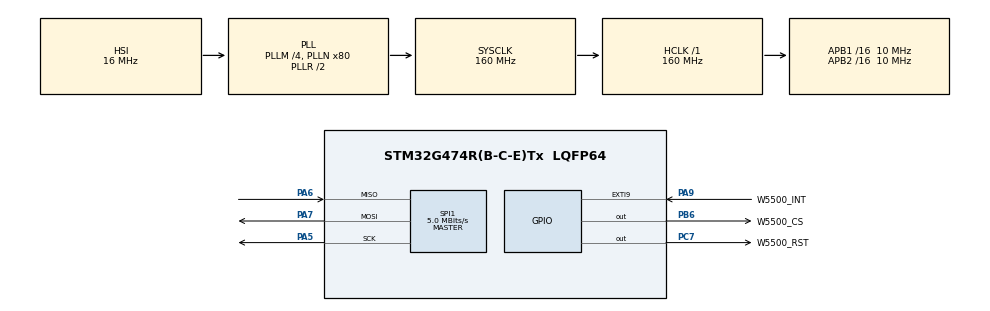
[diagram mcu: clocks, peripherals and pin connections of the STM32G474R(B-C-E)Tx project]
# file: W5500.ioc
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Mcu.Family=STM32G4
Mcu.Name=STM32G474R(B-C-E)Tx
Mcu.Package=LQFP64
NVIC.PriorityGroup=NVIC_PRIORITYGROUP_4
PA13.GPIO_Label=T_SWDIO
PA13.Signal=SYS_JTMS-SWDIO
PA14.GPIO_Label=T_SWCLK
PA14.Signal=SYS_JTCK-SWCLK
PA5.Mode=Full_Duplex_Master
PA5.Signal=SPI1_SCK
PA6.Mode=Full_Duplex_Master
PA6.Signal=SPI1_MISO
PA7.Mode=Full_Duplex_Master
PA7.Signal=SPI1_MOSI
PA9.GPIO_Label=W5500_INT
PA9.Signal=GPXTI9
PB3.GPIO_Label=T_SWO
PB3.Signal=SYS_JTDO-SWO
PB6.GPIO_Label=W5500_CS
PB6.Signal=GPIO_Output
PC14-OSC32_IN.GPIO_Label=RCC_OSC32_IN
PC14-OSC32_IN.Signal=RCC_OSC32_IN
PC15-OSC32_OUT.GPIO_Label=RCC_OSC32_OUT
PC15-OSC32_OUT.Signal=RCC_OSC32_OUT
PC7.GPIO_Label=W5500_RST
PC7.Signal=GPIO_Output
PF0-OSC_IN.GPIO_Label=RCC_OSC_IN
PF0-OSC_IN.Signal=RCC_OSC_IN
PF1-OSC_OUT.GPIO_Label=RCC_OSC_OUT
PF1-OSC_OUT.Signal=RCC_OSC_OUT
ProjectManager.HeapSize=0x200
ProjectManager.StackSize=0x400
ProjectManager.TargetToolchain=STM32CubeIDE
RCC.ADC12Freq_Value=160000000
RCC.ADC345Freq_Value=160000000
RCC.AHBFreq_Value=160000000
RCC.APB1CLKDivider=RCC_HCLK_DIV16
RCC.APB1Freq_Value=10000000
RCC.APB1TimFreq_Value=20000000
RCC.APB2CLKDivider=RCC_HCLK_DIV16
RCC.APB2Freq_Value=10000000
RCC.APB2TimFreq_Value=20000000
RCC.CortexFreq_Value=160000000
RCC.EXTERNAL_CLOCK_VALUE=12288000
RCC.HCLKFreq_Value=160000000
RCC.HSE_VALUE=24000000
RCC.HSI48_VALUE=48000000
RCC.HSI_VALUE=16000000
RCC.LSE_VALUE=32768
RCC.PLLM=RCC_PLLM_DIV4
RCC.PLLN=80
RCC.RTCClockSelection=RCC_RTCCLKSOURCE_LSE
RCC.SYSCLKFreq_VALUE=160000000
RCC.SYSCLKSource=RCC_SYSCLKSOURCE_PLLCLK
RCC.USBFreq_Value=160000000
RCC.VCOOutputFreq_Value=320000000
SPI1.BaudRatePrescaler=SPI_BAUDRATEPRESCALER_2
SPI1.CalculateBaudRate=5.0 MBits/s
SPI1.DataSize=SPI_DATASIZE_8BIT
SPI1.Direction=SPI_DIRECTION_2LINES
SPI1.Mode=SPI_MODE_MASTER
SPI1.VirtualType=VM_MASTER
VP_SYS_VS_DBSignals.Mode=DisableDeadBatterySignals
board=NUCLEO-G474RE

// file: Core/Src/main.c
/* USER CODE BEGIN Header */
/**
  ******************************************************************************
  * @file           : main.c
  * @brief          : Main program body
  ******************************************************************************
  * @attention
  *
  * Copyright (c) 2025 STMicroelectronics.
  * All rights reserved.
  *
  * This software is licensed under terms that can be found in the LICENSE file
  * in the root directory of this software component.
  * If no LICENSE file comes with this software, it is provided AS-IS.
  *
  ******************************************************************************
  */
/* USER CODE END Header */
#include "main.h"

/* USER CODE BEGIN Includes */
#include "nami_protocol.h"
#include <stdio.h>
/* USER CODE END Includes */

SPI_HandleTypeDef hspi1;

/* USER CODE BEGIN PV */
// ======================================================
// === USER CONFIGURATION SECTION FOR NAMI LIBRARY ===
// ======================================================

// --- SECTION A: DEVICE INFORMATION (visible in UDP discovery response) ---
const NaMi_Device_Info g_device_info = {
    .device_id        = "stm32_test_001",
    .type             = "test",
    .version          = "1.0_hw",
    .software_version = "1.0_fw",
    .tcp_port         = 6000
};

// --- SECTION B: NETWORK CONFIGURATION (W5500 static settings) ---
const NaMi_Network_Config g_network_config = {
    .mac = {0x02, 0x08, 0xDC, 0xAA, 0xBB, 0xCC},
    .ip  = {192, 168, 0, 123},
    .subnet_mask = {255, 255, 255, 0},
    .gateway = {192, 168, 0, 1}
};

// --- SECTION C: HARDWARE CONFIGURATION (mapping STM32 pins to W5500) ---
const NaMi_Hardware_Config g_hardware_config = {
    .spi_handle = &hspi1,
    .cs_port    = W5500_CS_GPIO_Port,
    .cs_pin     = W5500_CS_Pin,
    .rst_port   = W5500_RST_GPIO_Port,
    .rst_pin    = W5500_RST_Pin
};

// --- SECTION D: APPLICATION LOGIC (command callback) ---
void handle_device_commands(cJSON *command, char* session_id)
{
    (void)session_id;  // session_id is not used in this minimal version

    cJSON *cmd_item = cJSON_GetObjectItem(command, "cmd");
    if (!cJSON_IsString(cmd_item)) {
    	return;
	}

       const char *cmd = cmd_item->valuestring;

       // ------------------------------------------------------------------------
       // Example how command handling could look in the future:
       //
       // if (strcmp(cmd, "ping") == 0) {
       //	// Example: store a value, update application state, toggle GPIO, etc.
       //     last_ping_timestamp = HAL_GetTick();
       // }
       //
       // if (strcmp(cmd, "led_on") == 0) {
       //     HAL_GPIO_WritePin(LED_GPIO_Port, LED_Pin, GPIO_PIN_SET);
       // }
       //
       // ------------------------------------------------------------------------
}

/* USER CODE END PV */

void SystemClock_Config(void);
static void MX_GPIO_Init(void);
static void MX_SPI1_Init(void);

int main(void)
{

  /* MCU Configuration--------------------------------------------------------*/

  /* Reset of all peripherals, Initializes the Flash interface and the Systick. */
  HAL_Init();

  /* Configure the system clock */
  SystemClock_Config();

  /* Initialize all configured peripherals */
  MX_GPIO_Init();
  MX_SPI1_Init();
  /* USER CODE BEGIN 2 */

  if (NaMi_Init(&g_hardware_config, &g_network_config, &g_device_info, handle_device_commands) != 0)
  {
	  Error_Handler();
  }
  /* USER CODE END 2 */

  /* Infinite loop */
  while (1)
  {

    /* USER CODE BEGIN 3 */
	  NaMi_Process();
  }
  /* USER CODE END 3 */
}

void SystemClock_Config(void)
{
  RCC_OscInitTypeDef RCC_OscInitStruct = {0};
  RCC_ClkInitTypeDef RCC_ClkInitStruct = {0};

  /** Configure the main internal regulator output voltage
  */
  HAL_PWREx_ControlVoltageScaling(PWR_REGULATOR_VOLTAGE_SCALE1_BOOST);

  /** Initializes the RCC Oscillators according to the specified parameters
  * in the RCC_OscInitTypeDef structure.
  */
  RCC_OscInitStruct.OscillatorType = RCC_OSCILLATORTYPE_HSI;
  RCC_OscInitStruct.HSIState = RCC_HSI_ON;
  RCC_OscInitStruct.HSICalibrationValue = RCC_HSICALIBRATION_DEFAULT;
  RCC_OscInitStruct.PLL.PLLState = RCC_PLL_ON;
  RCC_OscInitStruct.PLL.PLLSource = RCC_PLLSOURCE_HSI;
  RCC_OscInitStruct.PLL.PLLM = RCC_PLLM_DIV4;
  RCC_OscInitStruct.PLL.PLLN = 80;
  RCC_OscInitStruct.PLL.PLLP = RCC_PLLP_DIV2;
  RCC_OscInitStruct.PLL.PLLQ = RCC_PLLQ_DIV2;
  RCC_OscInitStruct.PLL.PLLR = RCC_PLLR_DIV2;
  if (HAL_RCC_OscConfig(&RCC_OscInitStruct) != HAL_OK)
  {
    Error_Handler();
  }

  /** Initializes the CPU, AHB and APB buses clocks
  */
  RCC_ClkInitStruct.ClockType = RCC_CLOCKTYPE_HCLK|RCC_CLOCKTYPE_SYSCLK
                              |RCC_CLOCKTYPE_PCLK1|RCC_CLOCKTYPE_PCLK2;
  RCC_ClkInitStruct.SYSCLKSource = RCC_SYSCLKSOURCE_PLLCLK;
  RCC_ClkInitStruct.AHBCLKDivider = RCC_SYSCLK_DIV1;
  RCC_ClkInitStruct.APB1CLKDivider = RCC_HCLK_DIV16;
  RCC_ClkInitStruct.APB2CLKDivider = RCC_HCLK_DIV16;

  if (HAL_RCC_ClockConfig(&RCC_ClkInitStruct, FLASH_LATENCY_4) != HAL_OK)
  {
    Error_Handler();
  }
}

static void MX_SPI1_Init(void)
{

  /* SPI1 parameter configuration*/
  hspi1.Instance = SPI1;
  hspi1.Init.Mode = SPI_MODE_MASTER;
  hspi1.Init.Direction = SPI_DIRECTION_2LINES;
  hspi1.Init.DataSize = SPI_DATASIZE_8BIT;
  hspi1.Init.CLKPolarity = SPI_POLARITY_LOW;
  hspi1.Init.CLKPhase = SPI_PHASE_1EDGE;
  hspi1.Init.NSS = SPI_NSS_SOFT;
  hspi1.Init.BaudRatePrescaler = SPI_BAUDRATEPRESCALER_2;
  hspi1.Init.FirstBit = SPI_FIRSTBIT_MSB;
  hspi1.Init.TIMode = SPI_TIMODE_DISABLE;
  hspi1.Init.CRCCalculation = SPI_CRCCALCULATION_DISABLE;
  hspi1.Init.CRCPolynomial = 7;
  hspi1.Init.CRCLength = SPI_CRC_LENGTH_DATASIZE;
  hspi1.Init.NSSPMode = SPI_NSS_PULSE_ENABLE;
  if (HAL_SPI_Init(&hspi1) != HAL_OK)
  {
    Error_Handler();
  }

}

static void MX_GPIO_Init(void)
{
  GPIO_InitTypeDef GPIO_InitStruct = {0};

  /* GPIO Ports Clock Enable */
  __HAL_RCC_GPIOC_CLK_ENABLE();
  __HAL_RCC_GPIOF_CLK_ENABLE();
  __HAL_RCC_GPIOA_CLK_ENABLE();
  __HAL_RCC_GPIOB_CLK_ENABLE();

  /*Configure GPIO pin Output Level */
  HAL_GPIO_WritePin(W5500_RST_GPIO_Port, W5500_RST_Pin, GPIO_PIN_RESET);

  /*Configure GPIO pin Output Level */
  HAL_GPIO_WritePin(W5500_CS_GPIO_Port, W5500_CS_Pin, GPIO_PIN_RESET);

  /*Configure GPIO pin : W5500_RST_Pin */
  GPIO_InitStruct.Pin = W5500_RST_Pin;
  GPIO_InitStruct.Mode = GPIO_MODE_OUTPUT_PP;
  GPIO_InitStruct.Pull = GPIO_NOPULL;
  GPIO_InitStruct.Speed = GPIO_SPEED_FREQ_LOW;
  HAL_GPIO_Init(W5500_RST_GPIO_Port, &GPIO_InitStruct);

  /*Configure GPIO pin : W5500_INT_Pin */
  GPIO_InitStruct.Pin = W5500_INT_Pin;
  GPIO_InitStruct.Mode = GPIO_MODE_IT_RISING;
  GPIO_InitStruct.Pull = GPIO_NOPULL;
  HAL_GPIO_Init(W5500_INT_GPIO_Port, &GPIO_InitStruct);

  /*Configure GPIO pin : W5500_CS_Pin */
  GPIO_InitStruct.Pin = W5500_CS_Pin;
  GPIO_InitStruct.Mode = GPIO_MODE_OUTPUT_PP;
  GPIO_InitStruct.Pull = GPIO_NOPULL;
  GPIO_InitStruct.Speed = GPIO_SPEED_FREQ_LOW;
  HAL_GPIO_Init(W5500_CS_GPIO_Port, &GPIO_InitStruct);

}

void Error_Handler(void)
{
  __disable_irq();
  while (1)
  {
  }
}
